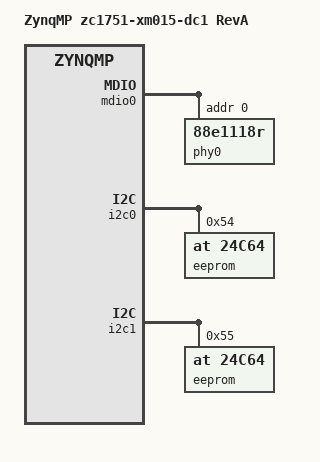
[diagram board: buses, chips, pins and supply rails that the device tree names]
/*
 * zc1751-dc1 Board
 *
 * Copyright (c) 2024, Advanced Micro Devices, Inc.
 * All rights reserved.
 *
 * SPDX-License-Identifier: GPL-2.0-or-later
 */

#include "zynqmp.dtsh"

/dts-v1/;

#include "zynqmp-arm.dtsi"
#include "zynqmp-memory-regions.dtsi"

/ {
	model = "ZynqMP zc1751-xm015-dc1 RevA";
	compatible = "xlnx,zynqmp-zc1751", "xlnx,zynqmp";

	aliases {
		ethernet0 = &gem3;
	};

	mdio0: mdio {
		#address-cells = <1>;
		#size-cells = <0>;
		compatible="mdio";
		phy0: phy@0 {
			compatible = "88e1118r";
			device_type = "ethernet-phy";
			reg = <0>;
		};
	};
};

&i2c0 {
	eeprom@54 {
		compatible = "at,24c64";
		reg = <0x54>;
		size = <0x2000>;
	};
};

&i2c1 {
	eeprom@55 {
		compatible = "at,24c64";
		reg = <0x55>;
		size = <0x2000>;
	};
};

&ps7_qspi_0 {
	SPI_FLASH(qspi_flash_lcs_lb, "n25q512a11", 0x02000000, 0x0 0x0)
	SPI_FLASH(qspi_flash_ucs_ub, "n25q512a11", 0x02000000, 0x1 0x1)
};

&gem3 {
	mdio = <&mdio0>;
};

&iou_slcr_0 {
	mio-bank0-1.8v = <1>;
	mio-bank1-1.8v = <1>;
	mio-bank2-1.8v = <1>;
};
